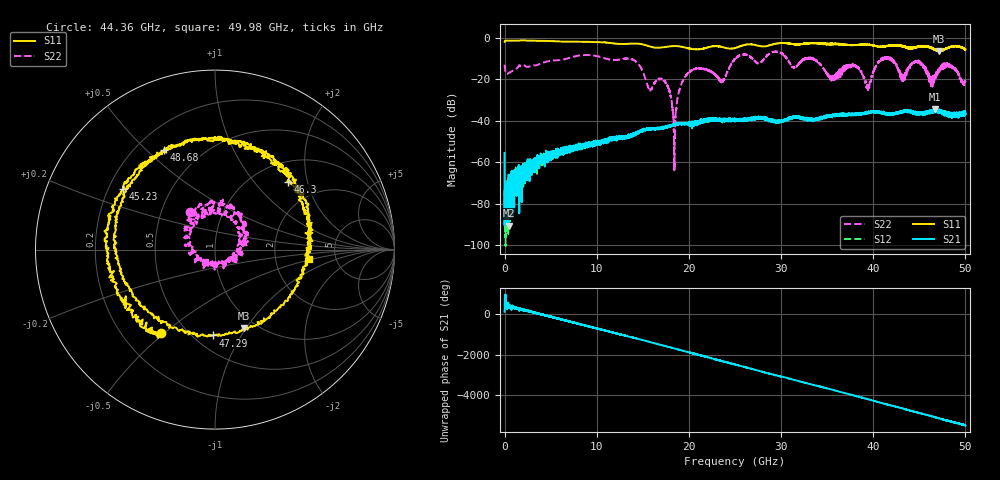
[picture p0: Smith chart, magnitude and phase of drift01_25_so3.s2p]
!Created with skrf (http://scikit-rf.org).
# Hz S RI R 50.0
!freq ReS11 ImS11 ReS21 ImS21 ReS12 ImS12 ReS22 ImS22
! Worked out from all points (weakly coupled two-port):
!   10001 points, 300 kHz to 50 GHz, reference 50 ohm
!   highest |S21| = -34.47 dB at 46.74 GHz (marker M1); lowest = -90.5 dB at 455.3 MHz (marker M2)
!   lowest |S11| = -6.6 dB at 47.15 GHz (marker M3), VSWR 2.74, Z = 43.7 - j48.7 ohm
!   |S11| at or under -10 dB: nowhere
!   |S22| runs from -63.9 to -6.7 dB; largest |S21 - S12| = 0.0037
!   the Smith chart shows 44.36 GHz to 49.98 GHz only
!   S11 on the Smith chart (normalised r, x): 44.36 GHz: 0.36, -0.49; 45.23 GHz: 0.26, +0.28; 46.3 GHz: 1.40, +1.52; 47.29 GHz: 0.62, -0.76; 48.68 GHz: 0.31, +0.57; 49.98 GHz: 3.13, -0.44
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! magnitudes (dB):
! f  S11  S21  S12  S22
! 300 kHz  -2.1  -55.5  -63.8  -13.0
! 455.3 MHz  -1.4  -90.5  -75.0  -17.1
! 8.335 GHz  -2.0  -51.6  -51.9  -8.5
! 16.67 GHz  -4.8  -44.0  -43.6  -20.0
! 17.74 GHz  -4.3  -42.9  -42.8  -23.7
! 18.44 GHz  -4.1  -42.0  -42.0  -56.9
! 19.91 GHz  -5.1  -41.5  -41.2  -17.1
! 23.6 GHz  -4.5  -39.1  -39.9  -20.7
! 25 GHz  -5.0  -39.2  -39.2  -10.3
! 33.34 GHz  -2.6  -39.5  -39.7  -10.0
! 39.37 GHz  -3.3  -36.3  -36.2  -23.7
! 41.67 GHz  -3.9  -36.9  -36.7  -10.2
! 43.19 GHz  -4.3  -35.5  -35.9  -19.3
! 44.36 GHz  -5.1  -36.3  -35.9  -11.9
! 45.23 GHz  -4.3  -36.6  -36.5  -12.3
! 46.3 GHz  -5.2  -35.5  -35.4  -22.4
! 46.74 GHz  -5.8  -34.5  -35.2  -19.5
! 47.15 GHz  -6.6  -35.7  -35.4  -15.5
! 47.29 GHz  -6.4  -35.7  -35.5  -15.6
! 48.68 GHz  -4.1  -37.9  -36.6  -14.1
! 49.98 GHz  -5.6  -36.0  -36.2  -21.3
! 50 GHz  -5.5  -36.9  -36.9  -21.3
